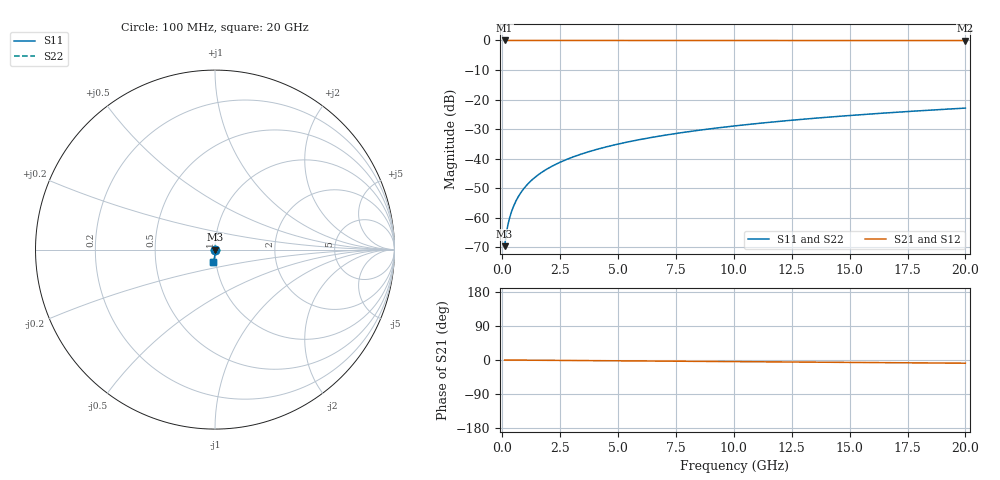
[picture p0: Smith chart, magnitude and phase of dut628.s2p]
! Touchstone file exported from HFSS 2026.1.0
!  File:  C:/ffzhzh/LocalFiles/Ansys_Project_Files/temp_train_TSV_628_1783026134_55676.aedt
!  Generated:  05:03:48 AM Jul  3, 2026
!  Design:  TSV
!  Project:  temp_train_TSV_628_1783026134_55676
! Variables:
!  h_bsmrdl = 2um
!  h_ox = 20um
!  h_rdl = 5um
!  h_sub = 79.06um
!  h_tmrdl = 5um
!  h_tsv = 79.06um
!  h_via = 3um
!  l_bsmrdl = 300um
!  l_sub = 421.26um
!  l_tmrdl = 200um
!  m_sub = 200um
!  pitch = 28.25um
!  r_tsv = 10.63um
!  s_tmrdl = 10um
!  w_bsmrdl = 18um
!  w_sub = 500um
!  w_tmrdl = 12um
!  x_tsv_center1 = 206um
!  x_tsv_center2 = 524um
!  x_tsv_center3 = 736um
!  x_tsv_center4 = 1054um
!  x_tsv_center5 = 1266um
!  x_tsv_center6 = 1584um
# GHz S MA R 50.000000
! Terminal data exported
! Port[1] = TSV1_1_T1
! Port[2] = TSV1_1_T2
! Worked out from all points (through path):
!   200 points, 100 MHz to 20 GHz, reference 50 ohm
!   highest |S21| = 0.00 dB at 100 MHz (marker M1); lowest = 0.0 dB at 20 GHz (marker M2)
!   group delay of S21, straight-line fit = 1.17 ps
!   lowest |S11| = -69.6 dB at 100 MHz (marker M3), VSWR 1.00, Z = 50 - j0.0304 ohm
!   |S11| at or under -10 dB: start of sweep to end of sweep
!   |S22| runs from -69.6 to -22.9 dB; largest |S21 - S12| = 2.1e-15
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0.1  0.0003296 -67.1  0.9999 -0.0  0.9999 -0.0  0.0003296 -67.1
! Gamma 0 0 0 0
! Port Impedance 50 0 50 0
0.2  0.0006295 -76.6  0.9999 -0.1  0.9999 -0.1  0.0006295 -76.6
0.3  0.0009453 -79.5  0.9998 -0.1  0.9998 -0.1  0.0009453 -79.5
0.4  0.001272 -80.9  0.9998 -0.2  0.9998 -0.2  0.001272 -80.9
0.5  0.001609 -81.8  0.9998 -0.2  0.9998 -0.2  0.001609 -81.8
0.7  0.002299 -83.0  0.9997 -0.3  0.9997 -0.3  0.002299 -83.0
0.8  0.002651 -83.5  0.9997 -0.4  0.9997 -0.4  0.002651 -83.5
1  0.003358 -84.3  0.9996 -0.4  0.9996 -0.4  0.003358 -84.3
1.2  0.004069 -85.0  0.9996 -0.5  0.9996 -0.5  0.004069 -85.0
1.4  0.00478 -85.6  0.9996 -0.6  0.9996 -0.6  0.00478 -85.6
1.7  0.005847 -86.3  0.9995 -0.7  0.9995 -0.7  0.005847 -86.3
2  0.006914 -86.9  0.9995 -0.9  0.9995 -0.9  0.006914 -86.9
2.7  0.009403 -87.8  0.9994 -1.2  0.9994 -1.2  0.009403 -87.8
3.5  0.01225 -88.6  0.9993 -1.5  0.9993 -1.5  0.01225 -88.6
4.2  0.01476 -89.2  0.9992 -1.8  0.9992 -1.8  0.01476 -89.2
5  0.01762 -89.7  0.9991 -2.1  0.9991 -2.1  0.01762 -89.7
6.8  0.0241 -90.8  0.9988 -2.9  0.9988 -2.9  0.0241 -90.8
8.3  0.02951 -91.6  0.9986 -3.5  0.9986 -3.5  0.02951 -91.6
10.1  0.036 -92.6  0.9983 -4.3  0.9983 -4.3  0.036 -92.6
13.4  0.0479 -94.2  0.9976 -5.7  0.9976 -5.7  0.0479 -94.2
16.7  0.05977 -95.7  0.9968 -7.1  0.9968 -7.1  0.05977 -95.7
20  0.07161 -97.2  0.9959 -8.4  0.9959 -8.4  0.07161 -97.2
